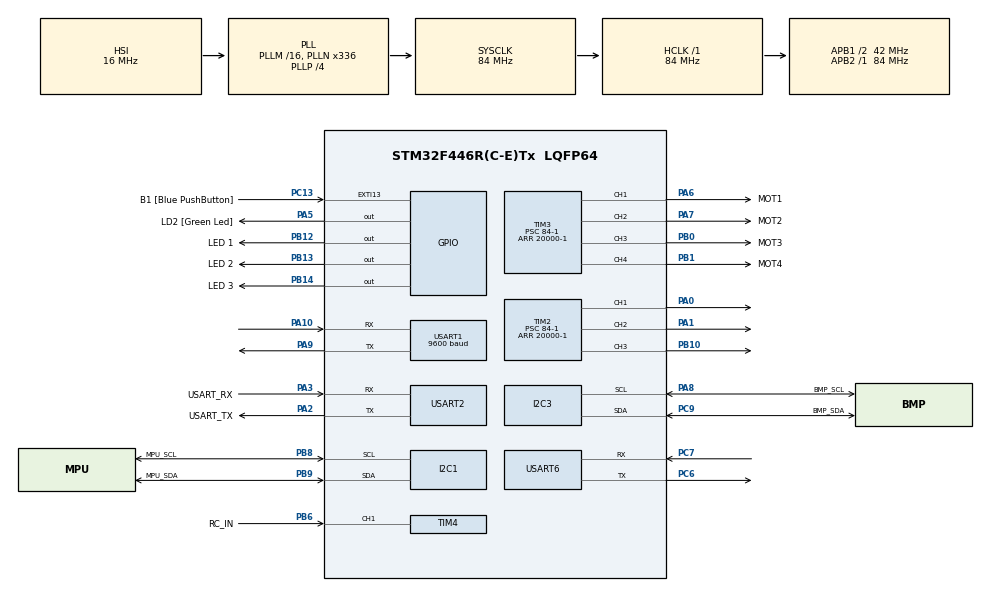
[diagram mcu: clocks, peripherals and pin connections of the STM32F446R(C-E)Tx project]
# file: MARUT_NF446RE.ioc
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FREERTOS.BinarySemaphores01=timer_sem,Dynamic,NULL,Depleted
FREERTOS.Events01=i2c_mtex,Dynamic,NULL
FREERTOS.Tasks01=ArmDisarm,24,128,arm_disarm,Default,NULL,Static,ArmDisarmBuffer,ArmDisarmControlBlock;ModeHandler,24,128,mode_handler,Default,NULL,Static,ModeHandlerBuffer,ModeHandlerControlBlock;Debounce_Handle,24,128,debounce_task,Default,NULL,Static,Debounce_HandleBuffer,Debounce_HandleControlBlock;QuadTask,48,2024,quad_mode,Default,NULL,Static,QuadTaskBuffer,QuadTaskControlBlock;TelemetryTask,40,2024,telemetry_task,Default,NULL,Static,TelemetryTaskBuffer,TelemetryTaskControlBlock
FREERTOS.configENABLE_FPU=1
FREERTOS.configTOTAL_HEAP_SIZE=60000
FREERTOS.configUSE_NEWLIB_REENTRANT=1
I2C1.I2C_Mode=I2C_Fast
I2C3.I2C_Mode=I2C_Fast
Mcu.Family=STM32F4
Mcu.Name=STM32F446R(C-E)Tx
Mcu.Package=LQFP64
NVIC.PriorityGroup=NVIC_PRIORITYGROUP_4
NVIC.TIM1_TRG_COM_TIM11_IRQn=true\:15\:0\:false\:false\:true\:false\:false\:true\:true
NVIC.TimeBase=TIM1_TRG_COM_TIM11_IRQn
NVIC.TimeBaseIP=TIM11
NVIC.USART1_IRQn=true\:5\:0\:false\:false\:true\:true\:true\:true\:true
PA0-WKUP.Signal=S_TIM2_CH1_ETR
PA1.Signal=S_TIM2_CH2
PA10.Mode=Asynchronous
PA10.Signal=USART1_RX
PA13.GPIO_Label=TMS
PA13.Mode=Serial_Wire
PA13.Signal=SYS_JTMS-SWDIO
PA14.GPIO_Label=TCK
PA14.Mode=Serial_Wire
PA14.Signal=SYS_JTCK-SWCLK
PA2.GPIO_Label=USART_TX
PA2.Mode=Asynchronous
PA2.Signal=USART2_TX
PA3.GPIO_Label=USART_RX
PA3.Mode=Asynchronous
PA3.Signal=USART2_RX
PA5.GPIO_Label=LD2 [Green Led]
PA5.PinState=GPIO_PIN_RESET
PA5.Signal=GPIO_Output
PA6.GPIO_Label=MOT1
PA6.Signal=S_TIM3_CH1
PA7.GPIO_Label=MOT2
PA7.Signal=S_TIM3_CH2
PA8.GPIO_Label=BMP_SCL
PA8.Mode=I2C
PA8.Signal=I2C3_SCL
PA9.Mode=Asynchronous
PA9.Signal=USART1_TX
PB0.GPIO_Label=MOT3
PB0.Signal=S_TIM3_CH3
PB1.GPIO_Label=MOT4
PB1.Signal=S_TIM3_CH4
PB10.Signal=S_TIM2_CH3
PB12.GPIO_Label=LED 1
PB12.Signal=GPIO_Output
PB13.GPIO_Label=LED 2
PB13.Signal=GPIO_Output
PB14.GPIO_Label=LED 3
PB14.Signal=GPIO_Output
PB3.GPIO_Label=SWO
PB3.Signal=SYS_JTDO-SWO
PB6.GPIO_Label=RC_IN
PB6.Signal=S_TIM4_CH1
PB8.GPIO_Label=MPU_SCL
PB8.GPIO_Pu=GPIO_PULLUP
PB8.Mode=I2C
PB8.Signal=I2C1_SCL
PB9.GPIO_Label=MPU_SDA
PB9.GPIO_Pu=GPIO_PULLUP
PB9.Mode=I2C
PB9.Signal=I2C1_SDA
PC13.GPIO_Label=B1 [Blue PushButton]
PC13.GPIO_ModeDefaultEXTI=GPIO_MODE_IT_FALLING
PC13.GPIO_PuPd=GPIO_PULLUP
PC13.Signal=GPXTI13
PC14-OSC32_IN.Mode=LSE-External-Oscillator
PC14-OSC32_IN.Signal=RCC_OSC32_IN
PC15-OSC32_OUT.Mode=LSE-External-Oscillator
PC15-OSC32_OUT.Signal=RCC_OSC32_OUT
PC6.Mode=Asynchronous
PC6.Signal=USART6_TX
PC7.Mode=Asynchronous
PC7.Signal=USART6_RX
PC9.GPIO_Label=BMP_SDA
PC9.Mode=I2C
PC9.Signal=I2C3_SDA
PH0-OSC_IN.Mode=HSE-External-Oscillator
PH0-OSC_IN.Signal=RCC_OSC_IN
PH1-OSC_OUT.Mode=HSE-External-Oscillator
PH1-OSC_OUT.Signal=RCC_OSC_OUT
ProjectManager.HeapSize=0x200
ProjectManager.StackSize=0x400
ProjectManager.TargetToolchain=STM32CubeIDE
RCC.48MHZClocksFreq_Value=84000000
RCC.AHBFreq_Value=84000000
RCC.APB1CLKDivider=RCC_HCLK_DIV2
RCC.APB1Freq_Value=42000000
RCC.APB1TimFreq_Value=84000000
RCC.APB2Freq_Value=84000000
RCC.APB2TimFreq_Value=84000000
RCC.CortexFreq_Value=84000000
RCC.FLatency-AdvancedSettings=FLASH_LATENCY_2
RCC.HCLKFreq_Value=84000000
RCC.HSE_VALUE=8000000
RCC.HSI_VALUE=16000000
RCC.PLLN=336
RCC.PLLP=RCC_PLLP_DIV4
RCC.SYSCLKFreq_VALUE=84000000
RCC.SYSCLKSource=RCC_SYSCLKSOURCE_PLLCLK
RCC.USBFreq_Value=168000000
RCC.VCOOutputFreq_Value=336000000
SH.S_TIM2_CH1_ETR.0=TIM2_CH1,PWM Generation1 CH1
SH.S_TIM2_CH2.0=TIM2_CH2,PWM Generation2 CH2
SH.S_TIM2_CH3.0=TIM2_CH3,PWM Generation3 CH3
SH.S_TIM3_CH1.0=TIM3_CH1,PWM Generation1 CH1
SH.S_TIM3_CH2.0=TIM3_CH2,PWM Generation2 CH2
SH.S_TIM3_CH3.0=TIM3_CH3,PWM Generation3 CH3
SH.S_TIM3_CH4.0=TIM3_CH4,PWM Generation4 CH4
SH.S_TIM4_CH1.0=TIM4_CH1,Input_Capture1_from_TI1
TIM10.Period=2499
TIM10.Prescaler=83
TIM2.Channel-PWM\ Generation1\ CH1=TIM_CHANNEL_1
TIM2.Channel-PWM\ Generation2\ CH2=TIM_CHANNEL_2
TIM2.Channel-PWM\ Generation3\ CH3=TIM_CHANNEL_3
TIM2.Period=20000-1
TIM2.Prescaler=84-1
TIM3.Channel-PWM\ Generation1\ CH1=TIM_CHANNEL_1
TIM3.Channel-PWM\ Generation2\ CH2=TIM_CHANNEL_2
TIM3.Channel-PWM\ Generation3\ CH3=TIM_CHANNEL_3
TIM3.Channel-PWM\ Generation4\ CH4=TIM_CHANNEL_4
TIM3.Period=20000-1
TIM3.Prescaler=84-1
TIM4.Channel-Input_Capture1_from_TI1=TIM_CHANNEL_1
TIM4.ICFilter_CH1=10
TIM4.Prescaler=84-1
TIM9.Prescaler=84-1
USART1.BaudRate=9600
USART1.VirtualMode=VM_ASYNC
USART2.VirtualMode=VM_ASYNC
USART6.VirtualMode=VM_ASYNC
VP_FREERTOS_VS_CMSIS_V2.Mode=CMSIS_V2
VP_SYS_VS_tim11.Mode=TIM11
VP_TIM10_VS_ClockSourceINT.Mode=Enable_Timer
VP_TIM2_VS_ClockSourceINT.Mode=Internal
VP_TIM3_VS_ClockSourceINT.Mode=Internal
VP_TIM4_VS_ClockSourceINT.Mode=Internal
VP_TIM9_VS_ClockSourceINT.Mode=Internal
board=NUCLEO-F446RE

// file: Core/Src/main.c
/* USER CODE BEGIN Header */
/**
 ******************************************************************************
 * @file           : main.c
 * @brief          : Main program body
 ******************************************************************************
 * @attention
 *
 * Copyright (c) 2026 STMicroelectronics.
 * All rights reserved.
 *
 * This software is licensed under terms that can be found in the LICENSE file
 * in the root directory of this software component.
 * If no LICENSE file comes with this software, it is provided AS-IS.
 *
 ******************************************************************************
 */
/* USER CODE END Header */
#include "main.h"
#include "cmsis_os.h"

/* USER CODE BEGIN Includes */
#include "mpu6050.h"
#include "bmp280.h"
#include <stdio.h>
#include <string.h>
#include <math.h>
#include "gps_parser.h"
#include "mav_messages.h"
#include "mavlink/common/mavlink.h"

/* USER CODE END Includes */

typedef StaticTask_t osStaticThreadDef_t;

/* USER CODE BEGIN PD */
#define PUTCHAR_PROTOTYPE int __io_putchar(int ch)

/* USER CODE END PD */

I2C_HandleTypeDef hi2c1;
I2C_HandleTypeDef hi2c3;

TIM_HandleTypeDef htim2;
TIM_HandleTypeDef htim3;
TIM_HandleTypeDef htim4;
TIM_HandleTypeDef htim9;
TIM_HandleTypeDef htim10;

UART_HandleTypeDef huart1;
UART_HandleTypeDef huart2;
UART_HandleTypeDef huart6;

/* Definitions for ArmDisarm */
osThreadId_t ArmDisarmHandle;
uint32_t ArmDisarmBuffer[128];
osStaticThreadDef_t ArmDisarmControlBlock;
const osThreadAttr_t ArmDisarm_attributes = { .name = "ArmDisarm", .cb_mem =
		&ArmDisarmControlBlock, .cb_size = sizeof(ArmDisarmControlBlock),
		.stack_mem = &ArmDisarmBuffer[0], .stack_size = sizeof(ArmDisarmBuffer),
		.priority = (osPriority_t) osPriorityLow, };
/* Definitions for ModeHandler */
osThreadId_t ModeHandlerHandle;
uint32_t ModeHandlerBuffer[128];
osStaticThreadDef_t ModeHandlerControlBlock;
const osThreadAttr_t ModeHandler_attributes = { .name = "ModeHandler", .cb_mem =
		&ModeHandlerControlBlock, .cb_size = sizeof(ModeHandlerControlBlock),
		.stack_mem = &ModeHandlerBuffer[0], .stack_size =
				sizeof(ModeHandlerBuffer), .priority =
				(osPriority_t) osPriorityLow, };
/* Definitions for Debounce_Handle */
osThreadId_t Debounce_HandleHandle;
uint32_t Debounce_HandleBuffer[128];
osStaticThreadDef_t Debounce_HandleControlBlock;
const osThreadAttr_t Debounce_Handle_attributes = { .name = "Debounce_Handle",
		.cb_mem = &Debounce_HandleControlBlock, .cb_size =
				sizeof(Debounce_HandleControlBlock), .stack_mem =
				&Debounce_HandleBuffer[0], .stack_size =
				sizeof(Debounce_HandleBuffer), .priority =
				(osPriority_t) osPriorityLow, };
/* Definitions for QuadTask */
osThreadId_t QuadTaskHandle;
uint32_t QuadTaskBuffer[2024];
osStaticThreadDef_t QuadTaskControlBlock;
const osThreadAttr_t QuadTask_attributes = { .name = "QuadTask", .cb_mem =
		&QuadTaskControlBlock, .cb_size = sizeof(QuadTaskControlBlock),
		.stack_mem = &QuadTaskBuffer[0], .stack_size = sizeof(QuadTaskBuffer),
		.priority = (osPriority_t) osPriorityRealtime, };
/* Definitions for TelemetryTask */
osThreadId_t TelemetryTaskHandle;
uint32_t TelemetryTaskBuffer[2024];
osStaticThreadDef_t TelemetryTaskControlBlock;
const osThreadAttr_t TelemetryTask_attributes = { .name = "TelemetryTask",
		.cb_mem = &TelemetryTaskControlBlock, .cb_size =
				sizeof(TelemetryTaskControlBlock), .stack_mem =
				&TelemetryTaskBuffer[0], .stack_size =
				sizeof(TelemetryTaskBuffer), .priority =
				(osPriority_t) osPriorityNormal, };
/* Definitions for FixedWingTask */
osThreadId_t FixedWingTaskHandle;
uint32_t FixedWingTaskBuffer[2024];
osStaticThreadDef_t FixedWingTaskControlBlock;
const osThreadAttr_t FixedWingTask_attributes = { .name = "FixedWingTask",
		.cb_mem = &FixedWingTaskControlBlock, .cb_size =
				sizeof(FixedWingTaskControlBlock), .stack_mem =
				&FixedWingTaskBuffer[0], .stack_size =
				sizeof(FixedWingTaskBuffer), .priority =
				(osPriority_t) osPriorityRealtime, };
/* Definitions for VtolMode */
osThreadId_t VtolModeHandle;
uint32_t VtolModeBuffer[2024];
osStaticThreadDef_t VtolModeControlBlock;
const osThreadAttr_t VtolMode_attributes = { .name = "VtolMode", .cb_mem =
		&VtolModeControlBlock, .cb_size = sizeof(VtolModeControlBlock),
		.stack_mem = &VtolModeBuffer[0], .stack_size = sizeof(VtolModeBuffer),
		.priority = (osPriority_t) osPriorityRealtime, };
/* Definitions for timer_sem */
osSemaphoreId_t timer_semHandle;
const osSemaphoreAttr_t timer_sem_attributes = { .name = "timer_sem" };
/* Definitions for i2c_mtex */
osEventFlagsId_t i2c_mtexHandle;
const osEventFlagsAttr_t i2c_mtex_attributes = { .name = "i2c_mtex" };
/* USER CODE BEGIN PV */

extern uint8_t rxBuffer[128];
extern uint8_t rxIndex;
extern uint8_t rxData;
extern float nmeaLong;
extern float nmeaLat;
extern float utcTime;
extern char posStatus;
extern char northsouth;
extern char eastwest;
extern float decimalLong;
extern float decimalLat;
extern float gpsSpeed;
extern float course;
extern int numSats;
extern float mslAlt;
extern int gpsQuality;
extern int has_fix;
extern int fix_type;
extern float hdop;
extern uint32_t last_led_toggle;
extern char unit;
extern uint32_t gps_send_counter;

volatile uint16_t ppm_live_channels[8];
volatile uint16_t ppm_ready_channels[8];
uint16_t display_channels[8];
volatile uint8_t pulse = 1;

volatile uint8_t ppm_new_data_flag = 0;
volatile uint32_t last_capture = 0;

char msg[100];

volatile uint32_t ICValue_1 = 0;
volatile uint32_t frequency_1 = 0;
volatile float duty_1 = 0;

volatile uint32_t ICValue_2 = 0;
volatile uint32_t frequency_2 = 0;
volatile float duty_2 = 0;

volatile uint32_t ICValue_3 = 0;
volatile uint32_t frequency_3 = 0;
volatile float duty_3 = 0;

volatile uint32_t ICValue_4 = 0;
volatile uint32_t frequency_4 = 0;
volatile float duty_4 = 0;

volatile uint32_t ICValue_5 = 0;
volatile uint32_t frequency_5 = 0;
volatile float duty_5 = 0;

volatile uint32_t ICValue_6 = 0;
volatile uint32_t frequency_6 = 0;
volatile float duty_6 = 0;

volatile float pulse_width_us_1;
volatile float pulse_width_us_2;
volatile float pulse_width_us_3;
volatile float pulse_width_us_4;
volatile float pulse_width_us_5;
volatile float pulse_width_us_6;

volatile float batt_value = 0;
volatile float adc_value = 0;
volatile float internal_temp = 0;
volatile float v_out = 0;

float dt = 0;

int disarm_flag;
int arm_flag;
int button_counter;
int mode_flag = 0;
int temp_mode_flag = 0;

int elevon_left = 0;
int elevon_right = 0;

float calibration_const_global_roll_accel = 0;
float calibration_const_global_pitch_accel = 0;

float calibration_const_global_roll_gyro = 0;
float calibration_const_global_pitch_gyro = 0;

float calibration_const_global_gx = 0;
float calibration_const_global_gy = 0;
float calibration_const_global_gz = 0;

float calibration_const_global_ax = 0;
float calibration_const_global_ay = 0;
float calibration_const_global_az = 0;

float kalman_roll = 0.0f;
float kalman_pitch = 0.0f;
float roll_snap = 0.0f;
float pitch_snap = 0.0f;
int32_t altitude_snap = 0.0f;

float DesiredRateRoll, DesiredRatePitch, DesiredRateYaw;
float ErrorRateRoll, ErrorRatePitch, ErrorRateYaw;
float InputRoll, InputThrottle, InputPitch, InputYaw;
float PrevErrorRateRoll, PrevErrorRatePitch, PrevErrorRateYaw;
float PrevItermRateRoll, PrevItermRatePitch, PrevItermRateYaw;
float PIDReturn[] = { 0, 0, 0 };

float DesiredAngleRoll, DesiredAnglePitch;
float ErrorAngleRoll, ErrorAnglePitch;
float PrevErrorAngleRoll, PrevErrorAnglePitch;
float PrevItermAngleRoll, PrevItermAnglePitch;

int quad_mode_flag = 0;
float AccZInertial = 0.0f;
float VelocityVertical = 0.0f;

uint32_t last_time;

uint32_t M1 = 0;
uint32_t M2 = 0;
uint32_t M3 = 0;
uint32_t M4 = 0;

float gyro_x = 0;
float gyro_y = 0;
float gyro_z = 0;
float accel_roll = 0;
float accel_pitch = 0;

float relative_alt_meters = 0.0f;
float qmc_mag_ext = 0.0f;
float gx, gy, gz;

float PRateRoll_S = 0.88f;
float PRatePitch_S = 0.88;
float PRateYaw_S = 3;
float IRateRoll_S = 0.31f;
float IRatePitch_S = 0.31f;
float IRateYaw_S = 12;
float DRateRoll_S = 0.01f;
float DRatePitch_S = 0.01f;
float DRateYaw_S = 0;
float PAngleRoll_S = 1.11f;
float PAnglePitch_S = 1.11f;
float IAngleRoll_S = 0.31f;
float IAnglePitch_S = 0.31f;
float DAngleRoll_S = 0.011f;
float DAnglePitch_S = 0.011f;

float PRateRoll_R = 0.82f;
float PRatePitch_R = 0.82f;
float PRateYaw_R = 2.5;
float IRateRoll_R = 0.72f;
float IRatePitch_R = 0.72f;
float IRateYaw_R = 12;
float DRateRoll_R = 0.011f;
float DRatePitch_R = 0.011f;
float DRateYaw_R = 0;

float xx = 0;
float yy = 0;
uint32_t current_tick_quad = 0;
uint32_t current_tick_fw = 0;
uint32_t current_tick_vtol = 0;

float alt_ext = 0;
float mag_ext = 0;

int task_1_running = 0;
int task_2_running = 0;
int task_3_running = 0;
int task_4_running = 0;
int task_5_running = 0;

uint32_t t1, t2, dt_n;
int tim_flag = 0;

static uint32_t last = 0;
uint32_t now;

int m_t = 0;

int measure = 0;

float g_global_x = 0;
float g_global_y = 0;
float g_global_z = 0;

float a_global_x = 0;
float a_global_y = 0;
float a_global_z = 0;

/* USER CODE END PV */

void SystemClock_Config(void);
static void MX_GPIO_Init(void);
static void MX_I2C1_Init(void);
static void MX_I2C3_Init(void);
static void MX_TIM2_Init(void);
static void MX_TIM3_Init(void);
static void MX_TIM4_Init(void);
static void MX_USART1_UART_Init(void);
static void MX_USART2_UART_Init(void);
static void MX_USART6_UART_Init(void);
static void MX_TIM10_Init(void);
static void MX_TIM9_Init(void);
void arm_disarm(void *argument);
void mode_handler(void *argument);
void debounce_task(void *argument);
void quad_mode(void *argument);
void telemetry_task(void *argument);
void fw_mode(void *argument);
void vtol_task(void *argument);

/* USER CODE BEGIN 0 */
PUTCHAR_PROTOTYPE {
	/* Place your implementation of fputc here */
	/* e.g. write a character to the USART1 and Loop until the end of transmission */
	HAL_UART_Transmit(&huart1, (uint8_t*) &ch, 1, 0xFFFF);

	return ch;
}

void HAL_TIM_IC_CaptureCallback(TIM_HandleTypeDef *htim) {

	if (htim->Instance == TIM4 && htim->Channel == HAL_TIM_ACTIVE_CHANNEL_1) {
		uint32_t current_capture = HAL_TIM_ReadCapturedValue(htim,
		TIM_CHANNEL_1);
		uint16_t pulse_width;

		if (current_capture > last_capture) {
			pulse_width = current_capture - last_capture;
		} else {
			pulse_width = (65535 - last_capture) + current_capture;
		}

		if (pulse_width > 3000) {

			memcpy((void*) ppm_ready_channels, (void*) ppm_live_channels,
					sizeof(ppm_live_channels));
			ppm_new_data_flag = 1;

			pulse = 1;
		}

		else {
			switch (pulse) {
			case 1:
				ppm_live_channels[0] = pulse_width;
				pulse++;
				break;
			case 2:
				ppm_live_channels[1] = pulse_width;
				pulse++;
				break;
			case 3:
				ppm_live_channels[2] = pulse_width;
				pulse++;
				break;
			case 4:
				ppm_live_channels[3] = pulse_width;
				pulse++;
				break;
			case 5:
				ppm_live_channels[4] = pulse_width;
				pulse++;
				break;
			case 6:
				ppm_live_channels[5] = pulse_width;
				pulse++;
				break;
			case 7:
				ppm_live_channels[6] = pulse_width;
				pulse++;
				break;
			case 8:
				ppm_live_channels[7] = pulse_width;
				pulse++;
				break;
			case 9:
				ppm_live_channels[8] = pulse_width;
				pulse++;
				break;
			case 10:
				ppm_live_channels[9] = pulse_width;
				pulse++;
				break;
			default:
				pulse++;
				break;
			}
		}
		last_capture = current_capture;
	}

}

void HAL_UART_RxCpltCallback(UART_HandleTypeDef *huart) {
	if (huart->Instance == USART1) {

		if (rxData != '\n' && rxIndex < sizeof(rxBuffer)) {
			rxBuffer[rxIndex++] = rxData;
		} else {
			if (gpsValidate((char*) rxBuffer))
				gpsParse((char*) rxBuffer);
			rxIndex = 0;
			memset(rxBuffer, 0, sizeof(rxBuffer));
		}
		HAL_UART_Receive_IT(&huart1, &rxData, 1);

	}
}

uint32_t mapRCtoMotor(uint16_t rcValue) {
	if (rcValue > 2000) {
		rcValue = 2000;
	}
	if (rcValue < 1000) {
		rcValue = 1000;
	}
	// used simple ratio vala logic (y-0/63000-0 = x-1000 / 2000-1000)
	uint32_t motorValue = (uint32_t) (rcValue - 1000) * 180 / 1000;
	return motorValue;
}

float negative_range(uint32_t motorValue) {
	return ((float) motorValue - 90.0f) / 90.0f;
}

void setServoAngle(uint32_t angle, int channel) // obsolete not recommended for active use - aryan
{
	if (angle > 180)
		angle = 180;

	uint32_t minPulseWidth = 500;   // 0.5 ms
	uint32_t maxPulseWidth = 2500;  // 2.5 ms
	uint32_t pulse = ((angle * (maxPulseWidth - minPulseWidth)) / 180)
			+ minPulseWidth;

	if (channel == 1) {
		__HAL_TIM_SET_COMPARE(&htim2, TIM_CHANNEL_1, pulse);
	} else if (channel == 2) {
		__HAL_TIM_SET_COMPARE(&htim2, TIM_CHANNEL_2, pulse);
	} else if (channel == 3) {
		__HAL_TIM_SET_COMPARE(&htim2, TIM_CHANNEL_3, pulse);
	} else if (channel == 4) {
		__HAL_TIM_SET_COMPARE(&htim3, TIM_CHANNEL_1, pulse);
	} else if (channel == 5) {
		__HAL_TIM_SET_COMPARE(&htim3, TIM_CHANNEL_2, pulse);
	} else if (channel == 6) {
		__HAL_TIM_SET_COMPARE(&htim3, TIM_CHANNEL_3, pulse);
	} else if (channel == 7) {
		__HAL_TIM_SET_COMPARE(&htim3, TIM_CHANNEL_4, pulse);
	}
}

void set_raw_ccr(int ccr_val, int channel) // use this instead , cofnigured for arr = 20k-1 - aryan
{
	if (channel == 1) {
		__HAL_TIM_SET_COMPARE(&htim2, TIM_CHANNEL_1, ccr_val);
	} else if (channel == 2) {
		__HAL_TIM_SET_COMPARE(&htim2, TIM_CHANNEL_2, ccr_val);
	} else if (channel == 3) {
		__HAL_TIM_SET_COMPARE(&htim2, TIM_CHANNEL_3, ccr_val);
	} else if (channel == 4) {
		__HAL_TIM_SET_COMPARE(&htim3, TIM_CHANNEL_1, ccr_val);
	} else if (channel == 5) {
		__HAL_TIM_SET_COMPARE(&htim3, TIM_CHANNEL_2, ccr_val);
	} else if (channel == 6) {
		__HAL_TIM_SET_COMPARE(&htim3, TIM_CHANNEL_3, ccr_val);
	} else if (channel == 7) {
		__HAL_TIM_SET_COMPARE(&htim3, TIM_CHANNEL_4, ccr_val);
	}
}

void pid_equation(float Error, float P, float I, float D, float PrevError,
		float PrevIterm) {
	float Pterm = P * Error; // - simple multiplication of p term with error
	float Iterm = PrevIterm + I * (Error + PrevError) * 0.0025 / 2; //trapezoidal integration - aryan
	if (Iterm > 400) // i term negative and positive clamp - aryan
		Iterm = 400;
	else if (Iterm < -400)
		Iterm = -400;
	float Dterm = D * (Error - PrevError) / 0.0025; // - trapezoidal derivative - aryan
	float PIDOutput = Pterm + Iterm + Dterm;
	if (PIDOutput > 400) // pid output limiter, low for laggier response, higher for faster response
		PIDOutput = 400;
	else if (PIDOutput < -400)
		PIDOutput = -400;
	PIDReturn[0] = PIDOutput;
	PIDReturn[1] = Error;
	PIDReturn[2] = Iterm;
}

float mapRCtoPID(uint16_t rcValue) {
	if (rcValue > 2000)
		rcValue = 2000;
	if (rcValue < 1000)
		rcValue = 1000;
	return (rcValue - 1000) * 10.0f / 1000.0f;
}

void reset_pid(void) {
	PrevErrorRateRoll = 0;
	PrevErrorRatePitch = 0;
	PrevErrorRateYaw = 0;

	PrevItermRateRoll = 0;
	PrevItermRatePitch = 0;
	PrevItermRateYaw = 0;

	PrevErrorAngleRoll = 0;
	PrevErrorAnglePitch = 0;
	PrevItermAngleRoll = 0;
	PrevItermAnglePitch = 0;
}

void servo_test_sweep(void) {
	int pulse;

	//	printf("Starting Servo/ESC Test Sweep...\r\n");

	/* Start PWM on all servo channels */
	HAL_TIM_PWM_Start(&htim2, TIM_CHANNEL_1);
	HAL_TIM_PWM_Start(&htim2, TIM_CHANNEL_2);
	HAL_TIM_PWM_Start(&htim2, TIM_CHANNEL_3);
	HAL_TIM_PWM_Start(&htim3, TIM_CHANNEL_1);
	HAL_TIM_PWM_Start(&htim3, TIM_CHANNEL_2);
	HAL_TIM_PWM_Start(&htim3, TIM_CHANNEL_3);
	HAL_TIM_PWM_Start(&htim3, TIM_CHANNEL_4);

	/* Sweep from 1000 to 2000 */
	for (pulse = 500; pulse <= 2000; pulse += 50) {
		__HAL_TIM_SET_COMPARE(&htim2, TIM_CHANNEL_1, pulse);
		__HAL_TIM_SET_COMPARE(&htim2, TIM_CHANNEL_2, pulse);
		__HAL_TIM_SET_COMPARE(&htim2, TIM_CHANNEL_3, pulse);

		__HAL_TIM_SET_COMPARE(&htim3, TIM_CHANNEL_1, pulse);
		__HAL_TIM_SET_COMPARE(&htim3, TIM_CHANNEL_2, pulse);
		__HAL_TIM_SET_COMPARE(&htim3, TIM_CHANNEL_3, pulse);
		__HAL_TIM_SET_COMPARE(&htim3, TIM_CHANNEL_4, pulse);

		//	printf("PWM = %lu us\r\n", pulse);
		osDelay(500);
	}

	/* Sweep back from 2000 to 1000 */
	for (pulse = 2000; pulse >= 1000; pulse -= 50) {
		__HAL_TIM_SET_COMPARE(&htim2, TIM_CHANNEL_1, pulse);
		__HAL_TIM_SET_COMPARE(&htim2, TIM_CHANNEL_2, pulse);
		__HAL_TIM_SET_COMPARE(&htim2, TIM_CHANNEL_3, pulse);

		__HAL_TIM_SET_COMPARE(&htim3, TIM_CHANNEL_1, pulse);
		__HAL_TIM_SET_COMPARE(&htim3, TIM_CHANNEL_2, pulse);
		__HAL_TIM_SET_COMPARE(&htim3, TIM_CHANNEL_3, pulse);
		__HAL_TIM_SET_COMPARE(&htim3, TIM_CHANNEL_4, pulse);

		//	printf("PWM = %lu us\r\n", pulse);
		osDelay(500);
	}

	//printf("Servo/ESC Sweep Test Complete.\r\n");
}

void motor_check(void) {
	int pwm;

	int start_pwm = 800;
	int target_pwm = 1200;
	int step = 1;

	/* Start PWM if not already running */
	HAL_TIM_PWM_Start(&htim2, TIM_CHANNEL_1);
	HAL_TIM_PWM_Start(&htim2, TIM_CHANNEL_2);
	HAL_TIM_PWM_Start(&htim2, TIM_CHANNEL_3);

	HAL_TIM_PWM_Start(&htim3, TIM_CHANNEL_1);
	HAL_TIM_PWM_Start(&htim3, TIM_CHANNEL_2);
	HAL_TIM_PWM_Start(&htim3, TIM_CHANNEL_3);
	HAL_TIM_PWM_Start(&htim3, TIM_CHANNEL_4);

	/* Ramp slowly from 1000 -> 1500 */
	for (pwm = start_pwm; pwm <= target_pwm; pwm += step) {
		set_raw_ccr(pwm, 5);
		set_raw_ccr(pwm, 6);
		set_raw_ccr(pwm, 4);
		set_raw_ccr(pwm, 7);

		m_t = pwm;

		osDelay(20); // slow ramp
	}

	/* Hold at 1500 forever */
	while (1) {
		set_raw_ccr(target_pwm, 5);
		set_raw_ccr(target_pwm, 6);
		set_raw_ccr(target_pwm, 4);
		set_raw_ccr(target_pwm, 7);

		osDelay(50);

	}
}

/* USER CODE END 0 */

int main(void) {

	/* MCU Configuration--------------------------------------------------------*/

	/* Reset of all peripherals, Initializes the Flash interface and the Systick. */
	HAL_Init();

	/* Configure the system clock */
	SystemClock_Config();

	/* Initialize all configured peripherals */
	MX_GPIO_Init();
	MX_I2C1_Init();
	MX_I2C3_Init();
	MX_TIM2_Init();
	MX_TIM3_Init();
	MX_TIM4_Init();
	MX_USART1_UART_Init();
	MX_USART2_UART_Init();
	MX_USART6_UART_Init();
	MX_TIM10_Init();
	MX_TIM9_Init();
	/* USER CODE BEGIN 2 */
	__HAL_RCC_SYSCFG_CLK_ENABLE(); // mx forgets to enable rcc syscfg, if exti itr not working add this always after code generation - aryan

	HAL_UART_Transmit(&huart1, (uint8_t*) "Starting System Init...\n", 24,
			0xFFFF);

	mpu_init();
	bmp_i2c_setup();

	//HAL_Delay(3000);
	//printf("Init ok bmp/n");

	calibration_const_global_roll_accel = mpu_roll_pitch_calibration_accel(0);
	calibration_const_global_pitch_accel = mpu_roll_pitch_calibration_accel(1);

	calibration_const_global_gx = mpu_gyro_calibration(0);
	calibration_const_global_gy = mpu_gyro_calibration(1);
	calibration_const_global_gz = mpu_gyro_calibration(2);

	mode_flag = 0;

	HAL_UART_Transmit(&huart1, (uint8_t*) "Calibration completed\n", 24,
			0xFFFF);

	HAL_TIM_PWM_Start_IT(&htim4, TIM_CHANNEL_1);
	HAL_TIM_Base_Init(&htim10);
	HAL_TIM_Base_Start_IT(&htim10);

	/* USER CODE END 2 */

	/* Init scheduler */
	osKernelInitialize();

	/* Create the semaphores(s) */
	/* creation of timer_sem */
	timer_semHandle = osSemaphoreNew(1, 0, &timer_sem_attributes);

	/* Create the thread(s) */
	/* creation of ArmDisarm */
	ArmDisarmHandle = osThreadNew(arm_disarm, NULL, &ArmDisarm_attributes);

	/* creation of ModeHandler */
	ModeHandlerHandle = osThreadNew(mode_handler, NULL,
			&ModeHandler_attributes);

	/* creation of Debounce_Handle */
	Debounce_HandleHandle = osThreadNew(debounce_task, NULL,
			&Debounce_Handle_attributes);

	/* creation of QuadTask */
	QuadTaskHandle = osThreadNew(quad_mode, NULL, &QuadTask_attributes);

	/* creation of TelemetryTask */
	TelemetryTaskHandle = osThreadNew(telemetry_task, NULL,
			&TelemetryTask_attributes);

	/* creation of FixedWingTask */
	FixedWingTaskHandle = osThreadNew(fw_mode, NULL, &FixedWingTask_attributes);

	/* creation of VtolMode */
	VtolModeHandle = osThreadNew(vtol_task, NULL, &VtolMode_attributes);

	/* Create the event(s) */
	/* creation of i2c_mtex */
	i2c_mtexHandle = osEventFlagsNew(&i2c_mtex_attributes);

	/* Start scheduler */
	osKernelStart();

	/* We should never get here as control is now taken by the scheduler */

	/* Infinite loop */
	while (1) {

	}
}

void SystemClock_Config(void) {
	RCC_OscInitTypeDef RCC_OscInitStruct = { 0 };
	RCC_ClkInitTypeDef RCC_ClkInitStruct = { 0 };

	/** Configure the main internal regulator output voltage
	 */
	__HAL_RCC_PWR_CLK_ENABLE();
	__HAL_PWR_VOLTAGESCALING_CONFIG(PWR_REGULATOR_VOLTAGE_SCALE3);

	/** Initializes the RCC Oscillators according to the specified parameters
	 * in the RCC_OscInitTypeDef structure.
	 */
	RCC_OscInitStruct.OscillatorType = RCC_OSCILLATORTYPE_HSI;
	RCC_OscInitStruct.HSIState = RCC_HSI_ON;
	RCC_OscInitStruct.HSICalibrationValue = RCC_HSICALIBRATION_DEFAULT;
	RCC_OscInitStruct.PLL.PLLState = RCC_PLL_ON;
	RCC_OscInitStruct.PLL.PLLSource = RCC_PLLSOURCE_HSI;
	RCC_OscInitStruct.PLL.PLLM = 16;
	RCC_OscInitStruct.PLL.PLLN = 336;
	RCC_OscInitStruct.PLL.PLLP = RCC_PLLP_DIV4;
	RCC_OscInitStruct.PLL.PLLQ = 2;
	RCC_OscInitStruct.PLL.PLLR = 2;
	if (HAL_RCC_OscConfig(&RCC_OscInitStruct) != HAL_OK) {
		Error_Handler();
	}

	/** Initializes the CPU, AHB and APB buses clocks
	 */
	RCC_ClkInitStruct.ClockType = RCC_CLOCKTYPE_HCLK | RCC_CLOCKTYPE_SYSCLK
			| RCC_CLOCKTYPE_PCLK1 | RCC_CLOCKTYPE_PCLK2;
	RCC_ClkInitStruct.SYSCLKSource = RCC_SYSCLKSOURCE_PLLCLK;
	RCC_ClkInitStruct.AHBCLKDivider = RCC_SYSCLK_DIV1;
	RCC_ClkInitStruct.APB1CLKDivider = RCC_HCLK_DIV2;
	RCC_ClkInitStruct.APB2CLKDivider = RCC_HCLK_DIV1;

	if (HAL_RCC_ClockConfig(&RCC_ClkInitStruct, FLASH_LATENCY_2) != HAL_OK) {
		Error_Handler();
	}
}

static void MX_I2C1_Init(void) {

	hi2c1.Instance = I2C1;
	hi2c1.Init.ClockSpeed = 400000;
	hi2c1.Init.DutyCycle = I2C_DUTYCYCLE_2;
	hi2c1.Init.OwnAddress1 = 0;
	hi2c1.Init.AddressingMode = I2C_ADDRESSINGMODE_7BIT;
	hi2c1.Init.DualAddressMode = I2C_DUALADDRESS_DISABLE;
	hi2c1.Init.OwnAddress2 = 0;
	hi2c1.Init.GeneralCallMode = I2C_GENERALCALL_DISABLE;
	hi2c1.Init.NoStretchMode = I2C_NOSTRETCH_DISABLE;
	if (HAL_I2C_Init(&hi2c1) != HAL_OK) {
		Error_Handler();
	}

}

static void MX_I2C3_Init(void) {

	hi2c3.Instance = I2C3;
	hi2c3.Init.ClockSpeed = 400000;
	hi2c3.Init.DutyCycle = I2C_DUTYCYCLE_2;
	hi2c3.Init.OwnAddress1 = 0;
	hi2c3.Init.AddressingMode = I2C_ADDRESSINGMODE_7BIT;
	hi2c3.Init.DualAddressMode = I2C_DUALADDRESS_DISABLE;
	hi2c3.Init.OwnAddress2 = 0;
	hi2c3.Init.GeneralCallMode = I2C_GENERALCALL_DISABLE;
	hi2c3.Init.NoStretchMode = I2C_NOSTRETCH_DISABLE;
	if (HAL_I2C_Init(&hi2c3) != HAL_OK) {
		Error_Handler();
	}

}

static void MX_TIM2_Init(void) {

	TIM_ClockConfigTypeDef sClockSourceConfig = { 0 };
	TIM_MasterConfigTypeDef sMasterConfig = { 0 };
	TIM_OC_InitTypeDef sConfigOC = { 0 };

	htim2.Instance = TIM2;
	htim2.Init.Prescaler = 84 - 1;
	htim2.Init.CounterMode = TIM_COUNTERMODE_UP;
	htim2.Init.Period = 20000 - 1;
	htim2.Init.ClockDivision = TIM_CLOCKDIVISION_DIV1;
	htim2.Init.AutoReloadPreload = TIM_AUTORELOAD_PRELOAD_DISABLE;
	if (HAL_TIM_Base_Init(&htim2) != HAL_OK) {
		Error_Handler();
	}
	sClockSourceConfig.ClockSource = TIM_CLOCKSOURCE_INTERNAL;
	if (HAL_TIM_ConfigClockSource(&htim2, &sClockSourceConfig) != HAL_OK) {
		Error_Handler();
	}
	if (HAL_TIM_PWM_Init(&htim2) != HAL_OK) {
		Error_Handler();
	}
	sMasterConfig.MasterOutputTrigger = TIM_TRGO_RESET;
	sMasterConfig.MasterSlaveMode = TIM_MASTERSLAVEMODE_DISABLE;
	if (HAL_TIMEx_MasterConfigSynchronization(&htim2, &sMasterConfig)
			!= HAL_OK) {
		Error_Handler();
	}
	sConfigOC.OCMode = TIM_OCMODE_PWM1;
	sConfigOC.Pulse = 0;
	sConfigOC.OCPolarity = TIM_OCPOLARITY_HIGH;
	sConfigOC.OCFastMode = TIM_OCFAST_DISABLE;
	if (HAL_TIM_PWM_ConfigChannel(&htim2, &sConfigOC, TIM_CHANNEL_1)
			!= HAL_OK) {
		Error_Handler();
	}
	if (HAL_TIM_PWM_ConfigChannel(&htim2, &sConfigOC, TIM_CHANNEL_2)
			!= HAL_OK) {
		Error_Handler();
	}
	if (HAL_TIM_PWM_ConfigChannel(&htim2, &sConfigOC, TIM_CHANNEL_3)
			!= HAL_OK) {
		Error_Handler();
	}
	HAL_TIM_MspPostInit(&htim2);

}

static void MX_TIM3_Init(void) {

	TIM_ClockConfigTypeDef sClockSourceConfig = { 0 };
	TIM_MasterConfigTypeDef sMasterConfig = { 0 };
	TIM_OC_InitTypeDef sConfigOC = { 0 };

	htim3.Instance = TIM3;
	htim3.Init.Prescaler = 84 - 1;
	htim3.Init.CounterMode = TIM_COUNTERMODE_UP;
	htim3.Init.Period = 20000 - 1;
	htim3.Init.ClockDivision = TIM_CLOCKDIVISION_DIV1;
	htim3.Init.AutoReloadPreload = TIM_AUTORELOAD_PRELOAD_DISABLE;
	if (HAL_TIM_Base_Init(&htim3) != HAL_OK) {
		Error_Handler();
	}
	sClockSourceConfig.ClockSource = TIM_CLOCKSOURCE_INTERNAL;
	if (HAL_TIM_ConfigClockSource(&htim3, &sClockSourceConfig) != HAL_OK) {
		Error_Handler();
	}
	if (HAL_TIM_PWM_Init(&htim3) != HAL_OK) {
		Error_Handler();
	}
	sMasterConfig.MasterOutputTrigger = TIM_TRGO_RESET;
	sMasterConfig.MasterSlaveMode = TIM_MASTERSLAVEMODE_DISABLE;
	if (HAL_TIMEx_MasterConfigSynchronization(&htim3, &sMasterConfig)
			!= HAL_OK) {
		Error_Handler();
	}
	sConfigOC.OCMode = TIM_OCMODE_PWM1;
	sConfigOC.Pulse = 0;
	sConfigOC.OCPolarity = TIM_OCPOLARITY_HIGH;
	sConfigOC.OCFastMode = TIM_OCFAST_DISABLE;
	if (HAL_TIM_PWM_ConfigChannel(&htim3, &sConfigOC, TIM_CHANNEL_1)
			!= HAL_OK) {
		Error_Handler();
	}
	if (HAL_TIM_PWM_ConfigChannel(&htim3, &sConfigOC, TIM_CHANNEL_2)
			!= HAL_OK) {
		Error_Handler();
	}
	if (HAL_TIM_PWM_ConfigChannel(&htim3, &sConfigOC, TIM_CHANNEL_3)
			!= HAL_OK) {
		Error_Handler();
	}
	if (HAL_TIM_PWM_ConfigChannel(&htim3, &sConfigOC, TIM_CHANNEL_4)
			!= HAL_OK) {
		Error_Handler();
	}
	HAL_TIM_MspPostInit(&htim3);

}

static void MX_TIM4_Init(void) {

	TIM_ClockConfigTypeDef sClockSourceConfig = { 0 };
	TIM_MasterConfigTypeDef sMasterConfig = { 0 };
	TIM_IC_InitTypeDef sConfigIC = { 0 };

	htim4.Instance = TIM4;
	htim4.Init.Prescaler = 84 - 1;
	htim4.Init.CounterMode = TIM_COUNTERMODE_UP;
	htim4.Init.Period = 65535;
	htim4.Init.ClockDivision = TIM_CLOCKDIVISION_DIV1;
	htim4.Init.AutoReloadPreload = TIM_AUTORELOAD_PRELOAD_DISABLE;
	if (HAL_TIM_Base_Init(&htim4) != HAL_OK) {
		Error_Handler();
	}
	sClockSourceConfig.ClockSource = TIM_CLOCKSOURCE_INTERNAL;
	if (HAL_TIM_ConfigClockSource(&htim4, &sClockSourceConfig) != HAL_OK) {
		Error_Handler();
	}
	if (HAL_TIM_IC_Init(&htim4) != HAL_OK) {
		Error_Handler();
	}
	sMasterConfig.MasterOutputTrigger = TIM_TRGO_RESET;
	sMasterConfig.MasterSlaveMode = TIM_MASTERSLAVEMODE_DISABLE;
	if (HAL_TIMEx_MasterConfigSynchronization(&htim4, &sMasterConfig)
			!= HAL_OK) {
		Error_Handler();
	}
	sConfigIC.ICPolarity = TIM_INPUTCHANNELPOLARITY_RISING;
	sConfigIC.ICSelection = TIM_ICSELECTION_DIRECTTI;
	sConfigIC.ICPrescaler = TIM_ICPSC_DIV1;
	sConfigIC.ICFilter = 10;
	if (HAL_TIM_IC_ConfigChannel(&htim4, &sConfigIC, TIM_CHANNEL_1) != HAL_OK) {
		Error_Handler();
	}

}

static void MX_TIM9_Init(void) {

	TIM_ClockConfigTypeDef sClockSourceConfig = { 0 };

	htim9.Instance = TIM9;
	htim9.Init.Prescaler = 84 - 1;
	htim9.Init.CounterMode = TIM_COUNTERMODE_UP;
	htim9.Init.Period = 65535;
	htim9.Init.ClockDivision = TIM_CLOCKDIVISION_DIV1;
	htim9.Init.AutoReloadPreload = TIM_AUTORELOAD_PRELOAD_DISABLE;
	if (HAL_TIM_Base_Init(&htim9) != HAL_OK) {
		Error_Handler();
	}
	sClockSourceConfig.ClockSource = TIM_CLOCKSOURCE_INTERNAL;
	if (HAL_TIM_ConfigClockSource(&htim9, &sClockSourceConfig) != HAL_OK) {
		Error_Handler();
	}

}

static void MX_TIM10_Init(void) {

	htim10.Instance = TIM10;
	htim10.Init.Prescaler = 83;
	htim10.Init.CounterMode = TIM_COUNTERMODE_UP;
	htim10.Init.Period = 2499;
	htim10.Init.ClockDivision = TIM_CLOCKDIVISION_DIV1;
	htim10.Init.AutoReloadPreload = TIM_AUTORELOAD_PRELOAD_DISABLE;
	if (HAL_TIM_Base_Init(&htim10) != HAL_OK) {
		Error_Handler();
	}

}

static void MX_USART1_UART_Init(void) {

	huart1.Instance = USART1;
	huart1.Init.BaudRate = 9600;
	huart1.Init.WordLength = UART_WORDLENGTH_8B;
	huart1.Init.StopBits = UART_STOPBITS_1;
	huart1.Init.Parity = UART_PARITY_NONE;
	huart1.Init.Mode = UART_MODE_TX_RX;
	huart1.Init.HwFlowCtl = UART_HWCONTROL_NONE;
	huart1.Init.OverSampling = UART_OVERSAMPLING_16;
	if (HAL_UART_Init(&huart1) != HAL_OK) {
		Error_Handler();
	}

}

static void MX_USART2_UART_Init(void) {

	huart2.Instance = USART2;
	huart2.Init.BaudRate = 115200;
	huart2.Init.WordLength = UART_WORDLENGTH_8B;
	huart2.Init.StopBits = UART_STOPBITS_1;
	huart2.Init.Parity = UART_PARITY_NONE;
	huart2.Init.Mode = UART_MODE_TX_RX;
	huart2.Init.HwFlowCtl = UART_HWCONTROL_NONE;
	huart2.Init.OverSampling = UART_OVERSAMPLING_16;
	if (HAL_UART_Init(&huart2) != HAL_OK) {
		Error_Handler();
	}

}

static void MX_USART6_UART_Init(void) {

	huart6.Instance = USART6;
	huart6.Init.BaudRate = 115200;
	huart6.Init.WordLength = UART_WORDLENGTH_8B;
	huart6.Init.StopBits = UART_STOPBITS_1;
	huart6.Init.Parity = UART_PARITY_NONE;
	huart6.Init.Mode = UART_MODE_TX_RX;
	huart6.Init.HwFlowCtl = UART_HWCONTROL_NONE;
	huart6.Init.OverSampling = UART_OVERSAMPLING_16;
	if (HAL_UART_Init(&huart6) != HAL_OK) {
		Error_Handler();
	}

}

static void MX_GPIO_Init(void) {
	GPIO_InitTypeDef GPIO_InitStruct = { 0 };

	/* GPIO Ports Clock Enable */
	__HAL_RCC_GPIOC_CLK_ENABLE();
	__HAL_RCC_GPIOH_CLK_ENABLE();
	__HAL_RCC_GPIOA_CLK_ENABLE();
	__HAL_RCC_GPIOB_CLK_ENABLE();

	/*Configure GPIO pin Output Level */
	HAL_GPIO_WritePin(LD2_GPIO_Port, LD2_Pin, GPIO_PIN_RESET);

	/*Configure GPIO pin Output Level */
	HAL_GPIO_WritePin(GPIOB, LED_1_Pin | LED_2_Pin | LED_3_Pin, GPIO_PIN_RESET);

	/*Configure GPIO pin : B1_Pin */
	GPIO_InitStruct.Pin = B1_Pin;
	GPIO_InitStruct.Mode = GPIO_MODE_IT_FALLING;
	GPIO_InitStruct.Pull = GPIO_PULLUP;
	HAL_GPIO_Init(B1_GPIO_Port, &GPIO_InitStruct);

	/*Configure GPIO pin : LD2_Pin */
	GPIO_InitStruct.Pin = LD2_Pin;
	GPIO_InitStruct.Mode = GPIO_MODE_OUTPUT_PP;
	GPIO_InitStruct.Pull = GPIO_NOPULL;
	GPIO_InitStruct.Speed = GPIO_SPEED_FREQ_LOW;
	HAL_GPIO_Init(LD2_GPIO_Port, &GPIO_InitStruct);

	/*Configure GPIO pins : LED_1_Pin LED_2_Pin LED_3_Pin */
	GPIO_InitStruct.Pin = LED_1_Pin | LED_2_Pin | LED_3_Pin;
	GPIO_InitStruct.Mode = GPIO_MODE_OUTPUT_PP;
	GPIO_InitStruct.Pull = GPIO_NOPULL;
	GPIO_InitStruct.Speed = GPIO_SPEED_FREQ_LOW;
	HAL_GPIO_Init(GPIOB, &GPIO_InitStruct);

}

void arm_disarm(void *argument) {
	/* USER CODE BEGIN 5 */
	int ioce = 0; //execute once flags
	int joce = 0;

	/* Infinite loop */
	for (;;) {

		if (display_channels[4] > 1900 && ioce != 1) {
			joce = 0;

			arm_flag = 1;
			disarm_flag = 0;

			HAL_TIM_PWM_Start(&htim2, TIM_CHANNEL_1);
			HAL_TIM_PWM_Start(&htim2, TIM_CHANNEL_2);
			HAL_TIM_PWM_Start(&htim2, TIM_CHANNEL_3);

			HAL_TIM_PWM_Start(&htim3, TIM_CHANNEL_1);
			HAL_TIM_PWM_Start(&htim3, TIM_CHANNEL_2);
			HAL_TIM_PWM_Start(&htim3, TIM_CHANNEL_3);
			HAL_TIM_PWM_Start(&htim3, TIM_CHANNEL_4);

			ioce = 1;
		} else if (display_channels[4] < 1900 && joce != 1) {
			ioce = 0;

			arm_flag = 0;
			disarm_flag = 1;
			reset_pid();

			/*HAL_TIM_PWM_Stop(&htim2, TIM_CHANNEL_1);
			 HAL_TIM_PWM_Stop(&htim2, TIM_CHANNEL_2);
			 HAL_TIM_PWM_Stop(&htim2, TIM_CHANNEL_3);

			 HAL_TIM_PWM_Stop(&htim3, TIM_CHANNEL_1);
			 HAL_TIM_PWM_Stop(&htim3, TIM_CHANNEL_2);
			 HAL_TIM_PWM_Stop(&htim3, TIM_CHANNEL_3);
			 HAL_TIM_PWM_Stop(&htim3, TIM_CHANNEL_4);*/
			joce = 1;
		} else {
			__NOP();
		}

		task_4_running = 1;
		osDelay(25);
		task_4_running = 0;
		osDelay(25);

	}
	/* USER CODE END 5 */
}

void mode_handler(void *argument) {
	/* USER CODE BEGIN mode_handler */
	int ioc = 0;
	int joc = 0;
	int coc = 0;
	/* Infinite loop */
	for (;;) {

		uint32_t half_ms;

		if (mode_flag == 0) {
			if (!ioc) {
				QuadTaskHandle = osThreadNew(quad_mode, NULL,
						&QuadTask_attributes);
				osThreadTerminate(FixedWingTaskHandle);
				osThreadTerminate(VtolModeHandle);
				ioc = 1;
			}
			joc = 0;
			coc = 0;
			half_ms = 1000;
		} else if (mode_flag == 1) {
			if (!joc) {
				FixedWingTaskHandle = osThreadNew(fw_mode, NULL,
						&FixedWingTask_attributes);
				osThreadTerminate(QuadTaskHandle);
				osThreadTerminate(VtolModeHandle);
				joc = 1;
			}
			ioc = 0;
			coc = 0;
			half_ms = 334;
		} else if (mode_flag == 2) {
			if (!coc) {
				VtolModeHandle = osThreadNew(vtol_task, NULL,
						&VtolMode_attributes);
				osThreadTerminate(QuadTaskHandle);
				osThreadTerminate(FixedWingTaskHandle);
				coc = 1;
			}
			ioc = 0;
			joc = 0;
			half_ms = 100;
		} else {
			__NOP();
		}

		HAL_GPIO_TogglePin(GPIOC, GPIO_PIN_13);
		osDelay(half_ms);
		osDelay(5);
		task_3_running = 1;
		osDelay(5);
		task_3_running = 0;
	}
	/* USER CODE END mode_handler */
}

void debounce_task(void *argument) {
	/* USER CODE BEGIN debounce_task */
	/* Infinite loop */
	for (;;) {
		mode_flag = temp_mode_flag;
		task_5_running = 1;
		osDelay(5);
		task_5_running = 0;
		osDelay(5);
	}
	/* USER CODE END debounce_task */
}

void quad_mode(void *argument) {
	/* USER CODE BEGIN quad_mode */
	int ThrottleIdle = 1050;
	static int16_t roll_offset = 0;
	static int16_t pitch_offset = 0;
	static int sample_limit = 0;
	HAL_TIM_Base_Start(&htim9);

	/* Infinite loop */

	for (;;) {

		osSemaphoreAcquire(timer_semHandle, osWaitForever);

		//motor_check();

		if (sample_limit < 25) {

			roll_offset = display_channels[0] - 1500;
			pitch_offset = display_channels[1] - 1500;

			if (roll_offset > 100)
				roll_offset = 100;
			if (roll_offset < -100)
				roll_offset = -100;
			if (pitch_offset > 100)
				pitch_offset = 100;
			if (pitch_offset < -100)
				pitch_offset = -100;

		}

		sample_limit++;
		display_channels[0] -= roll_offset;
		display_channels[1] -= pitch_offset;

		if (display_channels[0] > 1495 && display_channels[0] < 1505)
			display_channels[0] = 1500;

		if (display_channels[1] > 1495 && display_channels[1] < 1505)
			display_channels[1] = 1500;

		if (display_channels[0] < 1000)
			display_channels[0] = 1000;
		if (display_channels[0] > 2000)
			display_channels[0] = 2000;

		if (display_channels[1] < 1000)
			display_channels[1] = 1000;
		if (display_channels[1] > 2000)
			display_channels[1] = 2000;

		if (arm_flag == 1 && disarm_flag == 0) { //stabilize mode

			if (display_channels[7] > 1900) {

				DesiredAngleRoll = 0.10 * (display_channels[0] - 1500);
				DesiredAnglePitch = 0.10 * (display_channels[1] - 1500);

				if (DesiredAngleRoll > 20.0f) {
					DesiredAngleRoll = 20.0f;
				}
				if (DesiredAngleRoll < -20.0f) {
					DesiredAngleRoll = -20.0f;
				}

				if (DesiredAnglePitch > 20.0f) {
					DesiredAnglePitch = 20.0f;
				}
				if (DesiredAnglePitch < -20.0f) {
					DesiredAnglePitch = -20.0f;
				}

				InputThrottle = display_channels[2];
				DesiredRateYaw = 0.15 * (display_channels[3] - 1500);

				DesiredRateYaw = -DesiredRateYaw;

				//stabilize controller
				mpu_get_kalman_angles(&kalman_roll, &kalman_pitch);

				ErrorAngleRoll = DesiredAngleRoll - kalman_roll;
				ErrorAnglePitch = DesiredAnglePitch - kalman_pitch;

				pid_equation(ErrorAngleRoll, PAngleRoll_S, IAngleRoll_S,
						DAngleRoll_S, PrevErrorAngleRoll, PrevItermAngleRoll);
				DesiredRateRoll = PIDReturn[0];
				PrevErrorAngleRoll = PIDReturn[1];
				PrevItermAngleRoll = PIDReturn[2];
				pid_equation(ErrorAnglePitch, PAnglePitch_S, IAnglePitch_S,
						DAnglePitch_S, PrevErrorAnglePitch,
						PrevItermAnglePitch);
				DesiredRatePitch = PIDReturn[0];
				PrevErrorAnglePitch = PIDReturn[1];
				PrevItermAnglePitch = PIDReturn[2];

				//rate controller
				ErrorRateRoll = DesiredRateRoll
						- (mpu_gyro_read(0) - calibration_const_global_gx); //x
				ErrorRatePitch = DesiredRatePitch
						- (mpu_gyro_read(1) - calibration_const_global_gy); //y
				ErrorRateYaw = DesiredRateYaw
						- (mpu_gyro_read(2) - calibration_const_global_gz); //z

				pid_equation(ErrorRateRoll, PRateRoll_S, IRateRoll_S,
						DRateRoll_S, PrevErrorRateRoll, PrevItermRateRoll);
				InputRoll = PIDReturn[0];
				PrevErrorRateRoll = PIDReturn[1];
				PrevItermRateRoll = PIDReturn[2];
				pid_equation(ErrorRatePitch, PRatePitch_S, IRatePitch_S,
						DRatePitch_S, PrevErrorRatePitch, PrevItermRatePitch);
				InputPitch = PIDReturn[0];
				PrevErrorRatePitch = PIDReturn[1];
				PrevItermRatePitch = PIDReturn[2];
				pid_equation(ErrorRateYaw, PRateYaw_S, IRateYaw_S, DRateYaw_S,
						PrevErrorRateYaw, PrevItermRateYaw);
				InputYaw = PIDReturn[0];
				PrevErrorRateYaw = PIDReturn[1];
				PrevItermRateYaw = PIDReturn[2];

				M1 = 1.024f
						* (InputThrottle - InputRoll - InputPitch - InputYaw);
				M2 = 1.024f
						* (InputThrottle - InputRoll + InputPitch + InputYaw);
				M3 = 1.024f
						* (InputThrottle + InputRoll + InputPitch - InputYaw);
				M4 = 1.024f
						* (InputThrottle + InputRoll - InputPitch + InputYaw);

				M1 = ThrottleIdle;
				if (M2 < ThrottleIdle)
					M2 = ThrottleIdle;
				if (M3 < ThrottleIdle)
					M3 = ThrottleIdle;
				if (M4 < ThrottleIdle)
					M4 = ThrottleIdle;

				if (M1 > 2000)
					M1 = 1999;
				if (M2 > 2000)
					M2 = 1999;
				if (M3 > 2000)
					M3 = 1999;
				if (M4 > 2000)
					M4 = 1999;

				int ThrottleCutOff = 1000;
				if (display_channels[2] < 1100) {
					M1 = ThrottleCutOff;
					M2 = ThrottleCutOff;
					M3 = ThrottleCutOff;
					M4 = ThrottleCutOff;
					reset_pid();
				}

				set_raw_ccr(M1, 5);
				set_raw_ccr(M4, 7);
				set_raw_ccr(M3, 4);
				set_raw_ccr(M2, 6);

			} else if (display_channels[7] < 1300) { //rate mode

				DesiredRateRoll = 0.15 * (display_channels[0] - 1500);
				DesiredRatePitch = 0.15 * (display_channels[1] - 1500);
				InputThrottle = display_channels[2];
				DesiredRateYaw = 0.15 * (display_channels[3] - 1500);

				DesiredRateYaw = -DesiredRateYaw;

				mpu_get_kalman_angles(&kalman_roll, &kalman_pitch);

				ErrorRateRoll = DesiredRateRoll
						- (mpu_gyro_read(0) - calibration_const_global_gx); //x
				ErrorRatePitch = DesiredRatePitch
						- (mpu_gyro_read(1) - calibration_const_global_gy); //y
				ErrorRateYaw = DesiredRateYaw
						- (mpu_gyro_read(2) - calibration_const_global_gz); //z

				PRateRoll_R = mapRCtoPID(display_channels[5]);
				PRatePitch_R = mapRCtoPID(display_channels[5]);

				IRateRoll_R = mapRCtoPID(display_channels[6]);
				IRatePitch_R = mapRCtoPID(display_channels[6]);

				pid_equation(ErrorRateRoll, PRateRoll_R, IRateRoll_R,
						DRateRoll_R, PrevErrorRateRoll, PrevItermRateRoll);
				InputRoll = PIDReturn[0];
				PrevErrorRateRoll = PIDReturn[1];
				PrevItermRateRoll = PIDReturn[2];
				pid_equation(ErrorRatePitch, PRatePitch_R, IRatePitch_R,
						DRatePitch_R, PrevErrorRatePitch, PrevItermRatePitch);
				InputPitch = PIDReturn[0];
				PrevErrorRatePitch = PIDReturn[1];
				PrevItermRatePitch = PIDReturn[2];
				pid_equation(ErrorRateYaw, PRateYaw_R, IRateYaw_R, DRateYaw_R,
						PrevErrorRateYaw, PrevItermRateYaw);
				InputYaw = PIDReturn[0];
				PrevErrorRateYaw = PIDReturn[1];
				PrevItermRateYaw = PIDReturn[2];

				M1 = 1.024f
						* (InputThrottle - InputRoll - InputPitch - InputYaw);
				M2 = 1.024f
						* (InputThrottle - InputRoll + InputPitch + InputYaw);
				M3 = 1.024f
						* (InputThrottle + InputRoll + InputPitch - InputYaw);
				M4 = 1.024f
						* (InputThrottle + InputRoll - InputPitch + InputYaw);

				if (M1 < ThrottleIdle)
					M1 = ThrottleIdle;
				if (M2 < ThrottleIdle)
					M2 = ThrottleIdle;
				if (M3 < ThrottleIdle)
					M3 = ThrottleIdle;
				if (M4 < ThrottleIdle)
					M4 = ThrottleIdle;

				// capping maximum m1-4 values - aryan

				if (M1 > 2000)
					M1 = 1999;
				if (M2 > 2000)
					M2 = 1999;
				if (M3 > 2000)
					M3 = 1999;
				if (M4 > 2000)
					M4 = 1999;

				int ThrottleCutOff = 1000;
				if (display_channels[2] < 1100) {
					M1 = ThrottleCutOff;
					M2 = ThrottleCutOff;
					M3 = ThrottleCutOff;
					M4 = ThrottleCutOff;
					reset_pid();
				}

				set_raw_ccr(M1, 5); // func 4 is m3
				set_raw_ccr(M4, 7); // func 7 is m4
				set_raw_ccr(M3, 4);  // func 5 is m1
				set_raw_ccr(M2, 6); //func 6 is m2

			}

		}

		//for debugging on MCUViewer and For giving time exceeded warnings in mavlink
		now = TIM9->CNT;
		dt_n = now - last;
		last = now;

	}

	/* USER CODE END quad_mode */
}

void telemetry_task(void *argument) {
	/* USER CODE BEGIN telemetry_task */

	/* Infinite loop */
	for (;;) {

		if (arm_flag == 1 && disarm_flag == 0) {

			alt_ext = altitude_calc();
			send_heartbeat_armed();
			send_attitude();
			send_global_position_int();
			send_battery_info();
			send_status_text(MAV_SEVERITY_INFO, "ARMED!");

		}

		else if (arm_flag == 0 && disarm_flag == 1) {

			//mpu_get_kalman_angles(&kalman_roll, &kalman_pitch);
			g_global_x = mpu_gyro_read(0);
			g_global_y = mpu_gyro_read(1);
			g_global_z = mpu_gyro_read(2);
			a_global_x = mpu_accel_read(0);
			a_global_y = mpu_accel_read(1);
			a_global_z = mpu_accel_read(2);
			alt_ext = altitude_calc();
			send_heartbeat_disarmed();
			send_attitude();
			send_scaled_pressure();
			send_global_position_int();
			send_battery_info();
			send_status_text(MAV_SEVERITY_INFO, "DISARMED!");

		}

		task_1_running = 2;
		osDelay(15);
		task_1_running = 0;
		osDelay(15);

	}
	/* USER CODE END telemetry_task */
}

void fw_mode(void *argument) {
	/* USER CODE BEGIN fw_mode */
	/* Infinite loop */
	for (;;) {

			osSemaphoreAcquire(timer_semHandle, osWaitForever);

							if (display_channels[6] > 1800){
								/*   ELEVON
								 *
								 * FOR COMPLEMENTARY FILTER
								 *
								 * const float alpha = 0.98f;
								gx = (mpu_gyro_read(0) - calibration_const_global_gx);
								gy = (mpu_gyro_read(1) - calibration_const_global_gy);
								gz = (mpu_gyro_read(2) - calibration_const_global_gz);

								roll_acc=( mpu_roll_pitch_read_accel(0)-calibration_const_global_roll_accel) ;
								pitch_acc=(mpu_roll_pitch_read_accel(1) -calibration_const_global_pitch_accel) ;

								roll  = alpha * (roll  + gyro_roll_rate  * dt)
								      + (1.0f - alpha) * acc_roll;

								pitch = alpha * (pitch + gyro_pitch_rate * dt)
								      + (1.0f - alpha) * acc_pitch; */

								// Kalman Filter :
								mpu_get_kalman_angles(&kalman_roll, &kalman_pitch);

								DesiredAngleRoll  = 0.05f * (display_channels[0] - 1500);
								DesiredAnglePitch = 0.07f * (display_channels[1] - 1500);

								ErrorAngleRoll = DesiredAngleRoll - kalman_roll;
								ErrorAnglePitch = DesiredAnglePitch - kalman_pitch;

								/*pid_equation(ErrorAngleRoll, PAngleRoll, IAngleRoll,
																DAngleRoll, PrevErrorAngleRoll,
																PrevItermAngleRoll);
								DesiredRateRoll = PIDReturn[0];
								PrevErrorAngleRoll = PIDReturn[1];
								PrevItermAngleRoll = PIDReturn[2];

								pid_equation(ErrorAnglePitch, PAnglePitch, IAnglePitch,
											DAnglePitch, PrevErrorAnglePitch,
											PrevItermAnglePitch);

								DesiredRatePitch = PIDReturn[0];
								PrevErrorAnglePitch = PIDReturn[1];
								PrevItermAnglePitch = PIDReturn[2]; */

								DesiredRateRoll  = PAngleRoll  * ErrorAngleRoll;
								DesiredRatePitch = PAnglePitch * ErrorAnglePitch;

								if(DesiredRateRoll > 200.0f){
									DesiredRateRoll = 199.9f;
																}
								if(DesiredRateRoll < -200.0f){
										DesiredRateRoll = -199.9f;
									}

								if(DesiredRatePitch > 200.0f){
											DesiredRatePitch = 199.9f;
								}
								if(DesiredRatePitch < -200.0f){
										DesiredRatePitch = -199.9f;
							}

								Gx = mpu_gyro_read(0) - calibration_const_global_gx;
								Gy = mpu_gyro_read(1) - calibration_const_global_gy;

								ErrorRateRoll  = DesiredRateRoll  - Gx;
								ErrorRatePitch = DesiredRatePitch - Gy;

								pid_equation(ErrorRateRoll,
								             PRateRoll, 0.0f, DRateRoll,
								             PrevErrorRateRoll, PrevItermRateRoll);

								InputRoll = PIDReturn[0];
								PrevErrorRateRoll  = PIDReturn[1];
								PrevItermRateRoll  = PIDReturn[2];

								pid_equation(ErrorRatePitch,
								             PRatePitch, 0.0f, DRatePitch,
								             PrevErrorRatePitch, PrevItermRatePitch);

								InputPitch = PIDReturn[0];
								PrevErrorRatePitch  = PIDReturn[1];
								PrevItermRatePitch  = PIDReturn[2];

								//elevator = 1500 + InputPitch;

								/*if(elevator > 2000){
									elevator = 1999;
								}

								if(elevator < 1000){
									elevator = 1002;
								} */

								//set_raw_ccr(aileron,  AILERON_CH);

								// ELEVON MIXING: pitch + roll
								elevon_left  = 1500 + (EL_L_DIR * (InputPitch + InputRoll));
								elevon_right = 1500 + (EL_R_DIR * (InputPitch - InputRoll));

								// Clamp
								if (elevon_left > 2000)  elevon_left = 1999;
								if (elevon_left < 1000)  elevon_left = 1001;

								if (elevon_right > 2000) elevon_right = 1999;
								if (elevon_right < 1000) elevon_right = 1001;

								// Output
								set_raw_ccr(elevon_left,  2);
								set_raw_ccr(elevon_right, 3);
								//set_raw_ccr(elevator,ELEVATOR_CH);
								throttle = display_channels[2];
								set_raw_ccr(throttle, 1);

			}

	}
	/* USER CODE END fw_mode */
}

void vtol_task(void *argument) {
	for (;;) {
		osDelay(1);
	}
}

void HAL_TIM_PeriodElapsedCallback(TIM_HandleTypeDef *htim) {
	if (htim->Instance == TIM11) {
		HAL_IncTick();
	}
	/* USER CODE BEGIN Callback 1 */
	if (htim->Instance == TIM10) {
		tim_flag = 1;
		osSemaphoreRelease(timer_semHandle);

	}
	/* USER CODE END Callback 1 */
}

void Error_Handler(void) {
	__disable_irq();
	while (1) {
	}
}
